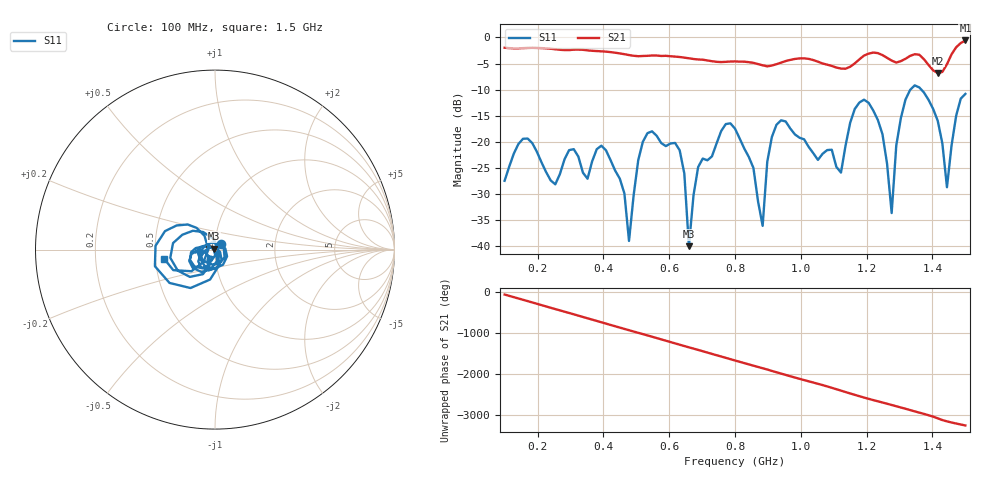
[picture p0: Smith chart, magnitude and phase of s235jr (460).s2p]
! NanoVNA-App
! Date: 2025-09-25 15:07:44
! Start: 100MHz Stop: 1,5GHz Points: 101
! S-Parameter data: F S11 S21 S12 S22
# Hz S RI R 50
!  Frequency  S11_Real  S11_Imag  S21_Real  S21_Imag  S12_Real  S12_Imag  S22_Real  S22_Imag
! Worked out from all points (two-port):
!   101 points, 100 MHz to 1.5 GHz, reference 50 ohm
!   highest |S21| = -0.57 dB at 1.5 GHz (marker M1); lowest = -6.8 dB at 1.416 GHz (marker M2)
!   |S21| within 3 dB of the highest: start of sweep to 502.9 MHz; 512.2 MHz to 599.3 MHz (87.1 MHz wide, 15.7 % of centre) (the widest 2 of 5)
!   lowest |S11| = -40.0 dB at 660 MHz (marker M3), VSWR 1.02, Z = 49.2 + j0.577 ohm
!   |S11| at or under -10 dB: start of sweep to 1.333 GHz; 1.366 GHz to end of sweep
!   S12 and S22 are empty: the file has one direction only
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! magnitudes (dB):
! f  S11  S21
! 100 MHz  -27.5  -2.0
! 156 MHz  -19.4  -2.0
! 338 MHz  -25.9  -2.4
! 408 MHz  -21.6  -2.7
! 478 MHz  -39.0  -3.4
! 520 MHz  -20.0  -3.5
! 576 MHz  -20.3  -3.5
! 632 MHz  -21.6  -3.7
! 660 MHz  -40.0  -4.0
! 688 MHz  -24.8  -4.2
! 800 MHz  -17.5  -4.6
! 884 MHz  -36.1  -5.3
! 926 MHz  -16.7  -5.1
! 1.038 GHz  -22.2  -4.3
! 1.122 GHz  -25.9  -6.0
! 1.206 GHz  -12.5  -3.1
! 1.276 GHz  -33.7  -4.4
! 1.29 GHz  -20.7  -4.8
! 1.332 GHz  -10.1  -3.5
! 1.416 GHz  -16.0  -6.8
! 1.444 GHz  -28.7  -5.1
! 1.5 GHz  -10.8  -0.6
